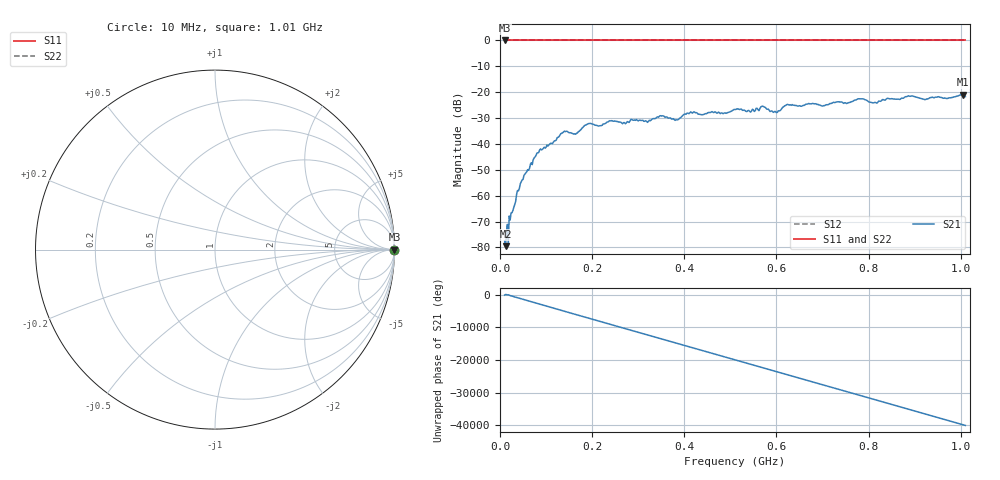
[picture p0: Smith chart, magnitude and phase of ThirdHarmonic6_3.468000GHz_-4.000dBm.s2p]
! 8/17/2025 11:14:42 AM
! C:\ANRITSUVNA\TEMP\TEMP.S2P
! CHANNEL.1
! TR.MEASUREMENT
! RAW.DATA
! RF.CORRECTION.OFF
! AVERAGING.OFF
! IF.BANDWIDTH: 5KHZ
! SWEEPTYPE:  FREQ.SWEEP(Linear)
! Reference Plane Port Info
! PORT:  PORT1  PORT2
! DISTANCE:  0  m  0  m
! TIME:  0  s  0  s
! PHASE.OFFSET:  0  deg.  0  deg.
! LOSS:  0  dB  0  dB
! REF.LOSS:  0  dB  0  dB
! REF.FREQ:  0  Hz  0  Hz
! Power Info
! POWER:  -20  dBm  -20  dBm
! EFF.POWER:  -20  dBm  -20  dBm
! SOURCE.ATTEN:  0  dB  0  dB
! TEST.ATTEN:  0  dB  0  dB
# GHZ S RI R 50.0
! FREQ.GHZ  S11RE  S11IM  S21RE  S21IM  S12RE  S12IM  S22RE  S22IM
!; PortSelection: Port_12
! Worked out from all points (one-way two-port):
!   501 points, 10 MHz to 1.01 GHz, reference 50 ohm
!   highest |S21| = -20.95 dB at 1.004 GHz (marker M1); lowest = -79.5 dB at 12 MHz (marker M2)
!   lowest |S11| = 0.0 dB at 10 MHz (marker M3)
!   |S11| at or under -10 dB: nowhere
!   |S22| runs from 0.0 to 0.0 dB; largest |S21 - S12| = 1.1
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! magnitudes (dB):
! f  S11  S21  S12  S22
! 10 MHz  0.0  -77.4  0.0  0.0
! 12 MHz  0.0  -79.5  0.0  0.0
! 14 MHz  0.0  -75.0  0.0  0.0
! 24 MHz  0.0  -66.6  0.0  0.0
! 42 MHz  0.0  -57.2  0.0  0.0
! 78 MHz  0.0  -44.5  0.0  0.0
! 136 MHz  0.0  -35.7  0.0  0.0
! 164 MHz  0.0  -36.2  0.0  0.0
! 178 MHz  0.0  -33.9  0.0  0.0
! 194 MHz  0.0  -32.1  0.0  0.0
! 322 MHz  0.0  -31.3  0.0  0.0
! 344 MHz  0.0  -29.7  0.0  0.0
! 384 MHz  0.0  -30.7  0.0  0.0
! 410 MHz  0.0  -28.3  0.0  0.0
! 510 MHz  0.0  -26.7  0.0  0.0
! 570 MHz  0.0  -25.4  0.0  0.0
! 598 MHz  0.0  -27.5  0.0  0.0
! 622 MHz  0.0  -24.8  0.0  0.0
! 678 MHz  0.0  -24.4  0.0  0.0
! 844 MHz  0.0  -22.5  0.0  0.0
! 1.004 GHz  0.0  -20.9  0.0  0.0
! 1.01 GHz  0.0  -21.7  0.0  0.0
